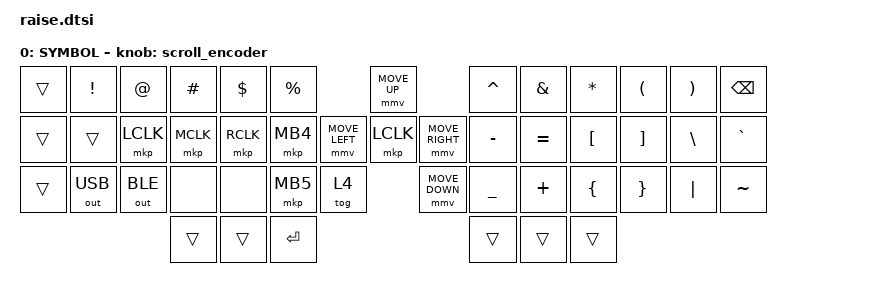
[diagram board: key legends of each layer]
/ {
    behaviors {
        scroll_encoder: scroll_encoder {
            compatible = "zmk,behavior-sensor-rotate";
            #sensor-binding-cells = <0>;
            bindings = <&msc SCRL_DOWN>, <&msc SCRL_UP>;
            tap-ms = <100>;
        };
    };
};

/ {
    keymap {
        compatible = "zmk,keymap";

        raise_layer {
            display-name = "SYMBOL";
            bindings = <
&trans  &kp EXCL      &kp AT        &kp HASH   &kp DLLR   &kp PRCNT                            &mmv MOVE_UP                     &kp CARET  &kp AMPS   &kp ASTRK  &kp LPAR  &kp RPAR  &kp BSPC
&trans  &trans        &mkp LCLK     &mkp MCLK  &mkp RCLK  &mkp MB4             &mmv MOVE_LEFT  &mkp LCLK       &mmv MOVE_RIGHT  &kp MINUS  &kp EQUAL  &kp LBKT   &kp RBKT  &kp BSLH  &kp GRAVE
&trans  &out OUT_USB  &out OUT_BLE  &none      &none      &mkp MB5   &tog 4                    &mmv MOVE_DOWN                   &kp UNDER  &kp PLUS   &kp LBRC   &kp RBRC  &kp PIPE  &kp TILDE
                                    &trans     &trans     &kp RETURN                                                            &trans     &trans     &trans
            >;
            sensor-bindings = <&scroll_encoder>;
        };
    };
};
